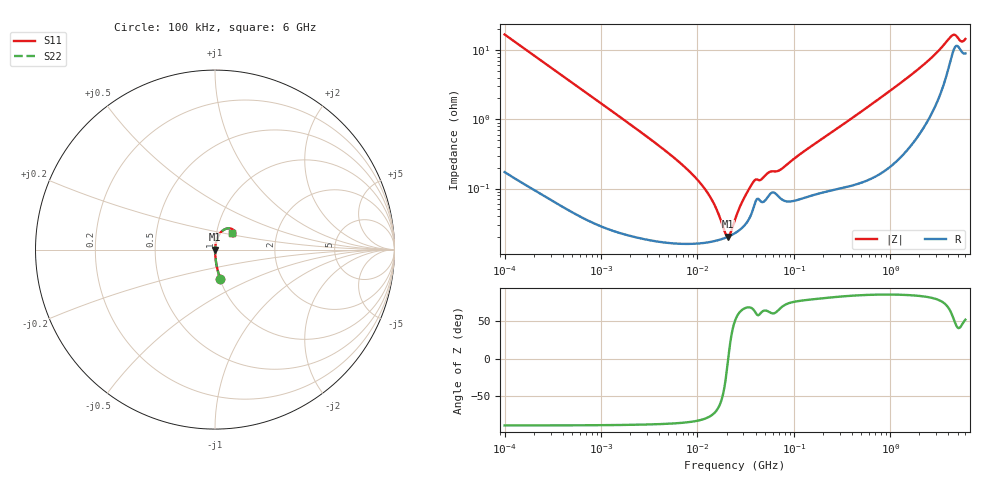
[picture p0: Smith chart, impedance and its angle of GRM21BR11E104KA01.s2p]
!Murata Part Number: GRM21BR11E104KA01
!These Parameters are Measured in Series Mode Connection
!Data Generated on Mar 30, 2021
!  o--ll--o
!Port1  Port2
!  o------o
!Operation Temp=25[degC], DC Bias Voltage=0[V]
!Freq. Start=100[kHz] Stop=6[GHz] 401[Steps]
# Hz S RI R 50
!Freq.(Hz) S11(Real) S11(Imag) S21(Real) S21(Imag) S12(Real) S12(Imag) S22(Real) S22(Imag)
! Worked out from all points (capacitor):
!   401 points, 100 kHz to 6 GHz, reference 50 ohm
!   read as one part in series: C = 94.5 nF near 105.7 kHz
!   lowest |Z| = 20.2 mohm at 20.77 MHz (marker M1)
!   series resonance near 20.84 MHz, so ESL is about 620 pH
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100000  0.0291 -0.1629  0.9709 0.1629  0.9709 0.1629  0.0291 -0.1629
631452  0.00111 -0.0269  0.9989 0.0269  0.9989 0.0269  0.00111 -0.0269
3987316  0.000188 -0.00415  0.9998 0.00415  0.9998 0.00415  0.000188 -0.00415
7506273  0.000163 -0.002  0.9998 0.002  0.9998 0.002  0.000163 -0.002
1.133979e7  0.000164 -0.00107  0.9998 0.00107  0.9998 0.00107  0.000164 -0.00107
1.452491e7  0.000173 -0.000613  0.9998 0.000613  0.9998 0.000613  0.000173 -0.000613
1.912349e7  0.000193 -0.000144  0.9998 0.000144  0.9998 0.000144  0.000193 -0.000144
2.076842e7  0.000202 -5.9e-06  0.9998 5.9e-06  0.9998 5.9e-06  0.000202 -5.9e-06
2.19429e7  0.000209 8.66e-05  0.9998 -8.66e-05  0.9998 -8.66e-05  0.000209 8.66e-05
2.517799e7  0.000233 0.000322  0.9998 -0.000322  0.9998 -0.000322  0.000233 0.000322
3.05238e7  0.000291 0.000678  0.9997 -0.000678  0.9997 -0.000678  0.000291 0.000678
3.909733e7  0.000591 0.00117  0.9994 -0.00117  0.9994 -0.00117  0.000591 0.00117
4.611257e7  0.000642 0.0012  0.9994 -0.0012  0.9994 -0.0012  0.000642 0.0012
5.590324e7  0.000819 0.00153  0.9992 -0.00153  0.9992 -0.00153  0.000819 0.00153
7.160533e7  0.000737 0.0017  0.9993 -0.0017  0.9993 -0.0017  0.000737 0.0017
1.546735e8  0.000813 0.0041  0.9992 -0.0041  0.9992 -0.0041  0.000813 0.0041
9.76689e8  0.00265 0.0252  0.9973 -0.0252  0.9973 -0.0252  0.00265 0.0252
2.2912e9  0.012 0.0623  0.988 -0.0623  0.988 -0.0623  0.012 0.0623
4.19625e9  0.0803 0.1184  0.9197 -0.1184  0.9197 -0.1184  0.0803 0.1184
4.68428e9  0.1107 0.0985  0.8893 -0.0985  0.8893 -0.0985  0.1107 0.0985
5.374892e9  0.0962 0.0751  0.9038 -0.0751  0.9038 -0.0751  0.0962 0.0751
6e9  0.0922 0.095  0.9078 -0.095  0.9078 -0.095  0.0922 0.095
